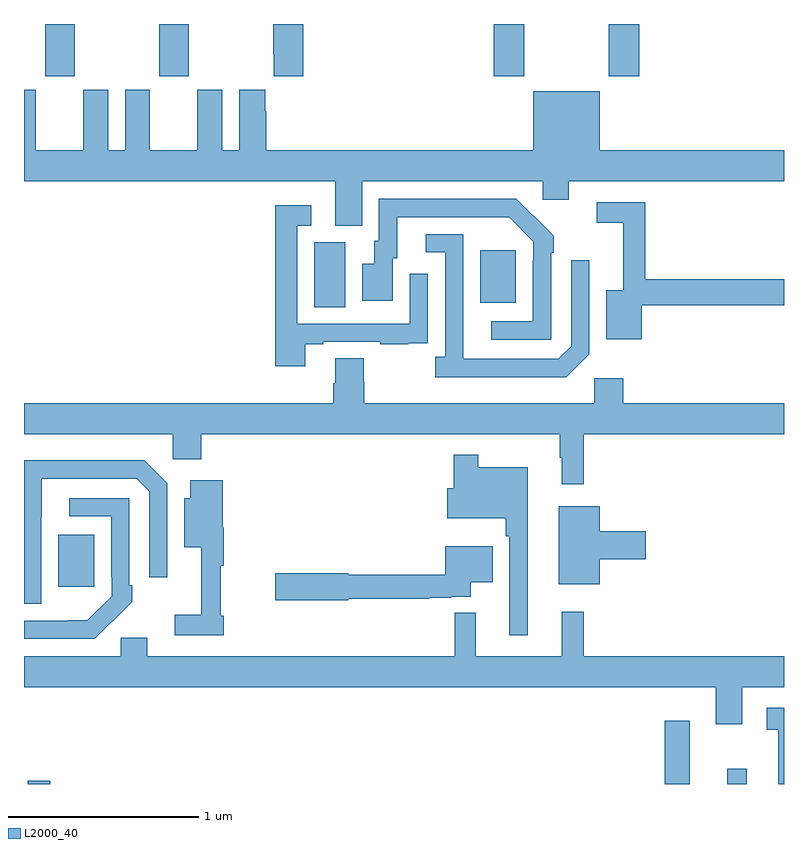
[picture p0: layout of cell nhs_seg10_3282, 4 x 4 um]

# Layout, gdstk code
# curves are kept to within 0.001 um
import gdstk
lib = gdstk.Library(unit=1e-6, precision=1e-09)
def R(c, l, rs):  # rectangles x0, y0, x1, y1
    for r in rs: c.add(gdstk.rectangle(r[:2], r[2:], *l))
def P(c, l, *ps):  # polygons
    for p in ps: c.add(gdstk.Polygon(p, *l))
L2000_40 = (2000, 40)

nhs_seg10_3282 = lib.new_cell('nhs_seg10_3282')
R(nhs_seg10_3282, L2000_40, [(289.02,1274.5,289.138,1274.516), (292.373,1274.5,292.504,1274.833), (292.7,1274.5,292.804,1274.581), (289.181,1275.537,289.369,1275.811), (290.528,1277.008,290.692,1277.352), (291.401,1277.033,291.589,1277.308), (289.111,1278.225,289.266,1278.5), (289.711,1278.225,289.866,1278.5), (291.473,1278.225,291.633,1278.5), (292.078,1278.225,292.238,1278.5)])
P(nhs_seg10_3282, L2000_40, [(290.471,1278.5),(290.311,1278.5),(290.311,1278.337),(290.315,1278.337),(290.315,1278.225),(290.471,1278.225)],
  [(290.639,1277.437),(290.779,1277.437),(290.779,1277.672),(291.729,1277.672),(291.729,1277.574),(291.868,1277.574),(291.868,1277.672),(293,1277.672),(293,1277.836),(292.03,1277.836),(292.03,1278.145),(291.68,1278.145),(291.68,1277.836),(290.276,1277.836),(290.276,1278.041),(290.269,1278.041),(290.269,1278.154),(290.132,1278.154),(290.132,1277.836),(290.044,1277.836),(290.044,1278.154),(289.913,1278.154),(289.913,1277.836),(289.663,1277.836),(289.663,1278.154),(289.532,1278.154),(289.532,1277.836),(289.444,1277.836),(289.444,1278.154),(289.313,1278.154),(289.313,1277.836),(289.063,1277.836),(289.063,1278.154),(289,1278.154),(289,1277.672),(290.639,1277.672)],
  [(291.774,1277.297),(291.789,1277.297),(291.789,1277.385),(291.592,1277.58),(290.868,1277.58),(290.868,1277.358),(290.843,1277.358),(290.843,1277.239),(290.78,1277.239),(290.78,1277.043),(290.941,1277.043),(290.941,1277.268),(290.965,1277.268),(290.965,1277.484),(291.553,1277.484),(291.681,1277.355),(291.681,1277.255),(291.678,1277.255),(291.678,1276.935),(291.459,1276.935),(291.459,1276.839),(291.774,1276.839)],
  [(292.251,1277.02),(293,1277.02),(293,1277.156),(292.271,1277.156),(292.271,1277.562),(292.014,1277.562),(292.014,1277.454),(292.154,1277.454),(292.154,1277.098),(292.064,1277.098),(292.064,1276.841),(292.251,1276.841)],
  [(290.479,1276.815),(290.575,1276.815),(290.575,1276.827),(290.875,1276.827),(290.875,1276.815),(291.023,1276.815),(291.023,1276.821),(291.125,1276.821),(291.125,1276.93),(291.126,1276.93),(291.126,1277.185),(291.03,1277.185),(291.03,1276.923),(290.439,1276.923),(290.439,1277.439),(290.512,1277.439),(290.512,1277.545),(290.323,1277.545),(290.323,1276.698),(290.479,1276.698)],
  [(291.975,1276.761),(291.975,1277.257),(291.879,1277.257),(291.879,1276.803),(291.813,1276.737),(291.313,1276.737),(291.312,1277.394),(291.114,1277.394),(291.114,1277.298),(291.216,1277.298),(291.216,1276.75),(291.165,1276.75),(291.165,1276.64),(291.854,1276.64)],
  [(291.947,1276.34),(293,1276.34),(293,1276.504),(292.154,1276.504),(292.154,1276.636),(292.002,1276.636),(292.002,1276.504),(290.792,1276.504),(290.792,1276.617),(290.787,1276.617),(290.787,1276.742),(290.639,1276.742),(290.639,1276.61),(290.627,1276.61),(290.627,1276.504),(289,1276.504),(289,1276.34),(289.782,1276.34),(289.782,1276.209),(289.934,1276.209),(289.934,1276.34),(291.819,1276.34),(291.819,1276.217),(291.83,1276.217),(291.83,1276.077),(291.947,1276.077)],
  [(291.652,1276.168),(291.391,1276.168),(291.391,1276.234),(291.262,1276.234),(291.262,1276.057),(291.228,1276.057),(291.228,1275.899),(291.535,1275.899),(291.535,1275.803),(291.555,1275.803),(291.555,1275.282),(291.652,1275.282)],
  [(289.092,1275.907),(289.093,1275.907),(289.093,1276.107),(289.593,1276.107),(289.659,1276.041),(289.659,1275.588),(289.755,1275.588),(289.755,1276.083),(289.634,1276.204),(289,1276.204),(289,1275.45),(289.092,1275.45)],
  [(290.051,1275.385),(290.036,1275.385),(290.036,1275.65),(290.051,1275.65),(290.051,1275.85),(290.045,1275.85),(290.045,1276.099),(289.874,1276.099),(289.874,1276.003),(289.844,1276.003),(289.844,1275.746),(289.934,1275.746),(289.934,1275.391),(289.794,1275.391),(289.794,1275.282),(290.051,1275.282)],
  [(289.463,1275.355),(289.464,1275.354),(289.569,1275.459),(289.569,1275.547),(289.554,1275.547),(289.554,1276.005),(289.239,1276.005),(289.239,1275.909),(289.458,1275.909),(289.458,1275.589),(289.461,1275.589),(289.461,1275.489),(289.333,1275.361),(289,1275.36),(289,1275.264),(289.372,1275.264)],
  [(292.03,1275.683),(292.273,1275.683),(292.273,1275.83),(292.03,1275.83),(292.03,1275.961),(291.815,1275.961),(291.815,1275.551),(292.03,1275.551)],
  [(290.706,1275.474),(291.134,1275.474),(291.134,1275.48),(291.248,1275.48),(291.248,1275.486),(291.352,1275.486),(291.352,1275.563),(291.466,1275.563),(291.466,1275.751),(291.218,1275.751),(291.218,1275.602),(290.706,1275.602),(290.706,1275.608),(290.322,1275.608),(290.322,1275.466),(290.706,1275.466)],
  [(289.509,1275.27),(289.509,1275.172),(289,1275.172),(289,1275.008),(292.64,1275.008),(292.64,1274.814),(292.78,1274.814),(292.78,1275.008),(293,1275.008),(293,1275.172),(291.947,1275.172),(291.947,1275.406),(291.83,1275.406),(291.83,1275.172),(291.377,1275.172),(291.377,1275.401),(291.268,1275.401),(291.268,1275.172),(289.648,1275.172),(289.648,1275.27)],
  [(293,1274.901),(292.908,1274.901),(292.908,1274.785),(292.97,1274.785),(292.97,1274.5),(293,1274.5)])

lib.write_gds('nhs_seg10_3282.gds')
